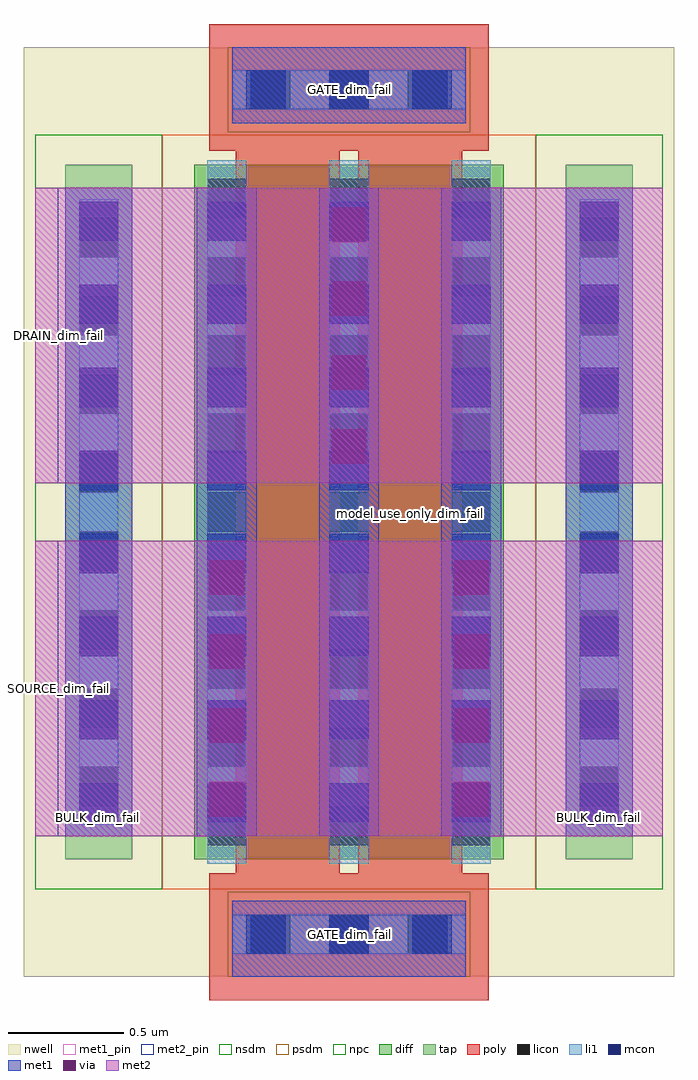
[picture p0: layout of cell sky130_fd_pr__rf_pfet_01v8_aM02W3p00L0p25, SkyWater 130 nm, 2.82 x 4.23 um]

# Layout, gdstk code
import gdstk
lib = gdstk.Library(unit=1e-6, precision=1e-09)
def R(c, l, rs):  # rectangles x0, y0, x1, y1
    for r in rs: c.add(gdstk.rectangle(r[:2], r[2:], *l))
def A(c, l, x, y, w, h, nx, ny, dx, dy):  # array of equal rectangles
    R(c, l, [(x+i*dx, y+j*dy, x+i*dx+w, y+j*dy+h) for i in range(nx) for j in range(ny)])
def P(c, l, *ps):  # polygons
    for p in ps: c.add(gdstk.Polygon(p, *l))
nwell = (64, 20)
diff = (65, 20)
tap = (65, 44)
poly = (66, 20)
licon = (66, 44)
li1 = (67, 20)
mcon = (67, 44)
met1_pin = (68, 16)
met1 = (68, 20)
via = (68, 44)
met2_pin = (69, 16)
met2 = (69, 20)
nsdm = (93, 44)
psdm = (94, 20)
npc = (95, 20)

sky130_fd_pr__rf_pfet_01 = lib.new_cell('sky130_fd_pr__rf_pfet_01v8_aM02W3p00L0p25')
R(sky130_fd_pr__rf_pfet_01, nwell, [(0,0,2.82,4.03)])
R(sky130_fd_pr__rf_pfet_01, diff, [(0.74,0.51,2.08,3.52)])
R(sky130_fd_pr__rf_pfet_01, tap, [(0.18,0.51,0.47,3.52), (2.35,0.51,2.64,3.52)])
P(sky130_fd_pr__rf_pfet_01, poly, [(0.805,-0.1),(0.805,0.45),(0.92,0.45),(0.92,3.58),(1.37,3.58),(1.37,0.45),(1.45,0.45),(1.45,3.58),(0.805,3.58),(0.805,4.13),(2.015,4.13),(2.015,3.58),(1.9,3.58),(1.9,0.45),(2.015,0.45),(2.015,-0.1)])
A(sky130_fd_pr__rf_pfet_01, licon, 0.985, 0.1, 0.17, 0.17, 3, 2, 0.34, 3.66)
A(sky130_fd_pr__rf_pfet_01, licon, 0.795, 0.57, 0.17, 0.17, 3, 9, 0.53, 0.34)
A(sky130_fd_pr__rf_pfet_01, licon, 0.24, 0.74, 0.17, 0.17, 1, 8, 0, 0.34)
A(sky130_fd_pr__rf_pfet_01, licon, 2.41, 0.74, 0.17, 0.17, 1, 8, 0, 0.34)
A(sky130_fd_pr__rf_pfet_01, li1, 0.795, 0.49, 0.17, 3.05, 3, 1, 0.53, 0)
A(sky130_fd_pr__rf_pfet_01, li1, 0.795, 0.67, 0.17, 2.69, 3, 1, 0.53, 0)
R(sky130_fd_pr__rf_pfet_01, li1, [(0.905,0.1,1.915,0.27), (0.965,0.1,1.855,0.27), (0.24,0.66,0.41,3.37), (2.41,0.66,2.58,3.37), (0.24,0.67,0.41,3.36), (2.41,0.67,2.58,3.36), (0.905,3.76,1.915,3.93), (0.965,3.76,1.855,3.93)])
A(sky130_fd_pr__rf_pfet_01, mcon, 0.965, 0.1, 0.17, 0.17, 3, 2, 0.36, 3.66)
A(sky130_fd_pr__rf_pfet_01, mcon, 0.24, 0.67, 0.17, 0.17, 1, 8, 0, 0.36)
A(sky130_fd_pr__rf_pfet_01, mcon, 0.795, 0.67, 0.17, 0.17, 3, 8, 0.53, 0.36)
A(sky130_fd_pr__rf_pfet_01, mcon, 2.41, 0.67, 0.17, 0.17, 1, 8, 0, 0.36)
R(sky130_fd_pr__rf_pfet_01, met1_pin, [(0.905,0,1.915,0.33), (0.18,0.61,0.47,0.69), (2.35,0.61,2.64,0.69), (0.905,3.7,1.915,4.03)])
A(sky130_fd_pr__rf_pfet_01, met1, 0.75, 0.61, 0.26, 2.81, 3, 1, 0.53, 0)
R(sky130_fd_pr__rf_pfet_01, met1, [(0.905,0,1.915,0.33), (0.18,0.61,0.47,3.42), (0.75,0.61,1.01,1.89), (1.81,0.61,2.07,1.89), (2.35,0.61,2.64,3.42), (1.28,2.14,1.54,3.42), (0.905,3.7,1.915,4.03)])
A(sky130_fd_pr__rf_pfet_01, via, 0.805, 0.695, 0.15, 0.15, 1, 4, 0, 0.32)
A(sky130_fd_pr__rf_pfet_01, via, 1.865, 0.695, 0.15, 0.15, 1, 4, 0, 0.32)
A(sky130_fd_pr__rf_pfet_01, via, 1.335, 2.225, 0.15, 0.15, 1, 4, 0, 0.32)
R(sky130_fd_pr__rf_pfet_01, met2_pin, [(0.05,0.61,0.15,1.89), (0.05,2.14,0.15,3.42)])
R(sky130_fd_pr__rf_pfet_01, met2, [(0.05,0.61,2.77,1.89), (0.75,0.61,1.01,1.89), (1.81,0.61,2.07,1.89), (0.05,2.14,2.77,3.42), (1.28,2.14,1.54,3.42)])
R(sky130_fd_pr__rf_pfet_01, nsdm, [(0.05,0.38,0.6,3.65), (2.22,0.38,2.77,3.65)])
R(sky130_fd_pr__rf_pfet_01, psdm, [(0.6,0.38,2.22,3.65)])
R(sky130_fd_pr__rf_pfet_01, npc, [(0.885,0,1.935,0.37), (0.885,3.66,1.935,4.03)])
sky130_fd_pr__rf_pfet_01.add(gdstk.Label('model_use_only_dim_fail', (1.675,2.01), layer=66, texttype=83))
sky130_fd_pr__rf_pfet_01.add(gdstk.Label('model_use_only_dim_fail', (1.145,2.01), layer=66, texttype=83))
sky130_fd_pr__rf_pfet_01.add(gdstk.Label('SOURCE_dim_fail', (0.15,1.25), layer=69, texttype=5))
sky130_fd_pr__rf_pfet_01.add(gdstk.Label('DRAIN_dim_fail', (0.15,2.78), layer=69, texttype=5))
sky130_fd_pr__rf_pfet_01.add(gdstk.Label('GATE_dim_fail', (1.41,3.845), layer=68, texttype=5))
sky130_fd_pr__rf_pfet_01.add(gdstk.Label('GATE_dim_fail', (1.41,0.185), layer=68, texttype=5))
sky130_fd_pr__rf_pfet_01.add(gdstk.Label('BULK_dim_fail', (2.49,0.69), layer=68, texttype=5))
sky130_fd_pr__rf_pfet_01.add(gdstk.Label('BULK_dim_fail', (0.32,0.69), layer=68, texttype=5))

lib.write_gds('sky130_fd_pr__rf_pfet_01v8_aM02W3p00L0p25.gds')
